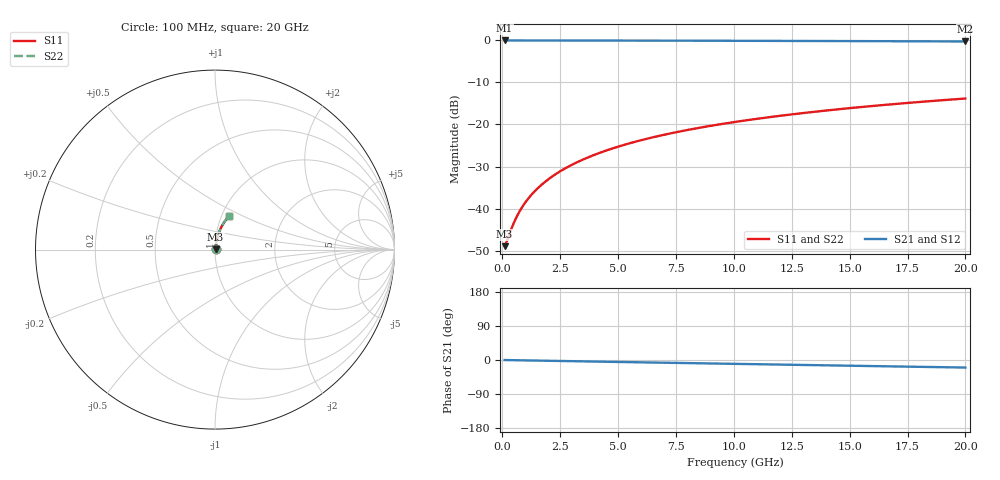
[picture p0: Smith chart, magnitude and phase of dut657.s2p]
! Touchstone file exported from HFSS 2026.1.0
!  File:  C:/ffzhzh/LocalFiles/Ansys_Project_Files/temp_train_BSMRDL_657_1783017082_46388.aedt
!  Generated:  02:32:43 AM Jul  3, 2026
!  Design:  BSMRDL
!  Project:  temp_train_BSMRDL_657_1783017082_46388
! Variables:
!  h_bsmrdl = 2.97um
!  h_ox = 20um
!  h_rdl = 5um
!  h_sub = 80um
!  h_tmrdl = 5um
!  h_tsv = 80um
!  h_via = 3um
!  l_bsmrdl = 275.78um
!  l_sub = 675.78um
!  l_tmrdl = 200um
!  m_sub = 200um
!  pitch = 25.21um
!  r_tsv = 6um
!  s_tmrdl = 10um
!  w_bsmrdl = 10.15um
!  w_sub = 500um
!  w_tmrdl = 12um
!  x_tsv_center1 = 206um
!  x_tsv_center2 = 491.93um
!  x_tsv_center3 = 703.93um
!  x_tsv_center4 = 989.86um
!  x_tsv_center5 = 1201.86um
!  x_tsv_center6 = 1487.79um
# GHz S MA R 50.000000
! Terminal data exported
! Port[1] = BSM_RDL1_1_T1
! Port[2] = BSM_RDL1_1_T2
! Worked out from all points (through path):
!   200 points, 100 MHz to 20 GHz, reference 50 ohm
!   highest |S21| = -0.03 dB at 100 MHz (marker M1); lowest = -0.3 dB at 20 GHz (marker M2)
!   group delay of S21, straight-line fit = 2.77 ps
!   lowest |S11| = -48.9 dB at 100 MHz (marker M3), VSWR 1.01, Z = 50.3 + j0.118 ohm
!   |S11| at or under -10 dB: start of sweep to end of sweep
!   |S22| runs from -48.9 to -13.8 dB; largest |S21 - S12| = 2e-15
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0.1  0.003571 19.1  0.9966 -0.1  0.9966 -0.1  0.003571 19.1
! Gamma 0 0 0 0
! Port Impedance 50 0 50 0
0.2  0.00413 34.3  0.9966 -0.2  0.9966 -0.2  0.00413 34.3
0.4  0.005811 52.6  0.9965 -0.4  0.9965 -0.4  0.005811 52.6
0.5  0.006774 57.8  0.9964 -0.5  0.9964 -0.5  0.006774 57.8
0.7  0.008785 64.6  0.9963 -0.7  0.9963 -0.7  0.008785 64.6
0.8  0.009809 66.9  0.9962 -0.8  0.9962 -0.8  0.009809 66.9
1  0.01188 70.3  0.9961 -1.1  0.9961 -1.1  0.01188 70.3
1.3  0.01501 73.5  0.996 -1.4  0.996 -1.4  0.01501 73.5
1.7  0.01922 76.2  0.9958 -1.8  0.9958 -1.8  0.01922 76.2
2.2  0.02453 78.1  0.9956 -2.3  0.9956 -2.3  0.02453 78.0
2.8  0.03093 79.2  0.9953 -2.9  0.9953 -2.9  0.03093 79.2
3.5  0.03841 79.8  0.9949 -3.6  0.9949 -3.6  0.03841 79.8
4.2  0.04589 80.0  0.9944 -4.3  0.9944 -4.3  0.04589 80.0
5  0.05442 79.8  0.9938 -5.1  0.9938 -5.1  0.05442 79.8
5.9  0.06396 79.4  0.9929 -6.1  0.9929 -6.1  0.06396 79.4
6.8  0.07344 78.9  0.992 -7.0  0.992 -7.0  0.07344 78.9
8.3  0.08909 77.7  0.9902 -8.5  0.9902 -8.5  0.08909 77.7
10.1  0.1076 76.2  0.9877 -10.3  0.9877 -10.3  0.1076 76.2
11.7  0.1238 74.8  0.9853 -11.9  0.9853 -11.9  0.1238 74.8
13.4  0.1406 73.3  0.9824 -13.6  0.9824 -13.6  0.1406 73.3
16.7  0.1726 70.3  0.9763 -16.8  0.9763 -16.8  0.1726 70.3
20  0.2034 67.4  0.9695 -19.9  0.9695 -19.9  0.2034 67.4
